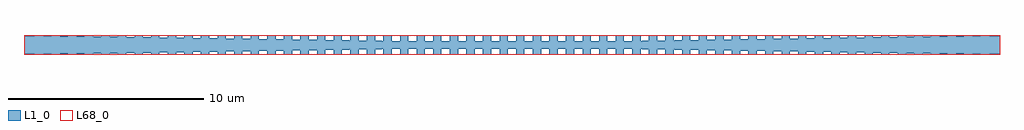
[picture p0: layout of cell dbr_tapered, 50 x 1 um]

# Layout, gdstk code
import gdstk
lib = gdstk.Library(unit=1e-6, precision=1e-09)
def R(c, l, rs):  # rectangles x0, y0, x1, y1
    for r in rs: c.add(gdstk.rectangle(r[:2], r[2:], *l))
def P(c, l, *ps):  # polygons
    for p in ps: c.add(gdstk.Polygon(p, *l))
L1_0 = (1, 0)
L68_0 = (68, 0)

compass_size0p425__1p0 = lib.new_cell('compass_size0p425__1p0')
R(compass_size0p425__1p0, L1_0, [(-0.212,-0.5,0.212,0.5)])

rectangle_size0p425__1p0 = lib.new_cell('rectangle_size0p425__1p0')
rectangle_size0p425__1p0.add(gdstk.Reference(compass_size0p425__1p0, (0.212,0.5)))

array_312b2f0e = lib.new_cell('array_312b2f0e')
r = gdstk.Reference(rectangle_size0p425__1p0, (0,0)); r.repetition = gdstk.Repetition(58, 1, v1=(0.85,0), v2=(0,1)); array_312b2f0e.add(r)

dbr_tapered = lib.new_cell('dbr_tapered')
R(dbr_tapered, L1_0, [(-5,-0.2,5,0.2)])
P(dbr_tapered, L1_0, [(-25,0.5),(-5,0.2),(-5,-0.2),(-25,-0.5)],
  [(5,0.2),(25,0.5),(25,-0.5),(5,-0.2)])
R(dbr_tapered, L68_0, [(-25,-0.5,25,0.5)])
dbr_tapered.add(gdstk.Reference(array_312b2f0e, (-24.437,-0.5)))

lib.write_gds('dbr_tapered.gds')
